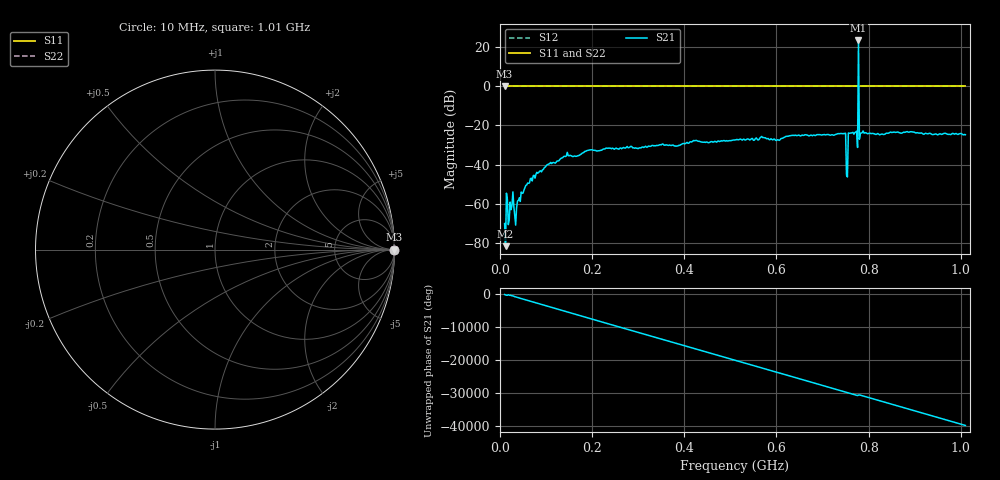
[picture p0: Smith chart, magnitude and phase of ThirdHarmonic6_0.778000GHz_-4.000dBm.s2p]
! 8/16/2025 1:58:09 AM
! C:\ANRITSUVNA\TEMP\TEMP.S2P
! CHANNEL.1
! TR.MEASUREMENT
! RAW.DATA
! RF.CORRECTION.OFF
! AVERAGING.OFF
! IF.BANDWIDTH: 5KHZ
! SWEEPTYPE:  FREQ.SWEEP(Linear)
! Reference Plane Port Info
! PORT:  PORT1  PORT2
! DISTANCE:  0  m  0  m
! TIME:  0  s  0  s
! PHASE.OFFSET:  0  deg.  0  deg.
! LOSS:  0  dB  0  dB
! REF.LOSS:  0  dB  0  dB
! REF.FREQ:  0  Hz  0  Hz
! Power Info
! POWER:  -20  dBm  -20  dBm
! EFF.POWER:  -20  dBm  -20  dBm
! SOURCE.ATTEN:  0  dB  0  dB
! TEST.ATTEN:  0  dB  0  dB
# GHZ S RI R 50.0
! FREQ.GHZ  S11RE  S11IM  S21RE  S21IM  S12RE  S12IM  S22RE  S22IM
!; PortSelection: Port_12
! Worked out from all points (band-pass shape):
!   501 points, 10 MHz to 1.01 GHz, reference 50 ohm
!   highest |S21| = 23.26 dB at 778 MHz (marker M1); lowest = -81.4 dB at 12 MHz (marker M2)
!   |S21| within 3 dB of the highest: 777.8898 MHz to 778.1194 MHz (229.5 kHz wide, 0.0295 % of centre)
!   lowest |S11| = 0.0 dB at 10 MHz (marker M3)
!   |S11| at or under -10 dB: nowhere
!   |S22| runs from 0.0 to 0.0 dB; largest |S21 - S12| = 14
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0.01  1 0  4.84e-05 -0.000314  1 0  1 0
0.012  1 0  -8.45e-05 5.9e-06  1 0  1 0
0.022  1 0  0.00102 0.000474  1 0  1 0
0.026  1 0  -0.000171 -0.000906  1 0  1 0
0.036  1 0  -0.000797 -8.93e-05  1 0  1 0
0.056  1 0  -0.000967 0.00282  1 0  1 0
0.082  1 0  -0.00314 0.00526  1 0  1 0
0.178  1 0  -0.0191 -0.00433  1 0  1 0
0.344  1 0  0.0305 -0.00668  1 0  1 0
0.51  1 0  -0.0405 0.0133  1 0  1 0
0.678  1 0  -0.022 -0.05  1 0  1 0
0.746  1 0  0.0549 0.029  1 0  1 0
0.75  1 0  -0.0429 -0.0462  1 0  1 0
0.756  1 0  0.0612 -0.0196  1 0  1 0
0.76  1 0  -0.0638 -0.00455  1 0  1 0
0.772  1 0  0.0351 0.0587  1 0  1 0
0.774  1 0  0.0663 -0.0263  1 0  1 0
0.778  1 0  11.75 8.605  1 0  1 0
0.782  1 0  0.062 0.0123  1 0  1 0
0.784  1 0  0.025 -0.0589  1 0  1 0
0.844  1 0  0.0456 0.0453  1 0  1 0
1.01  1 0  -0.0568 -0.0128  1 0  1 0
